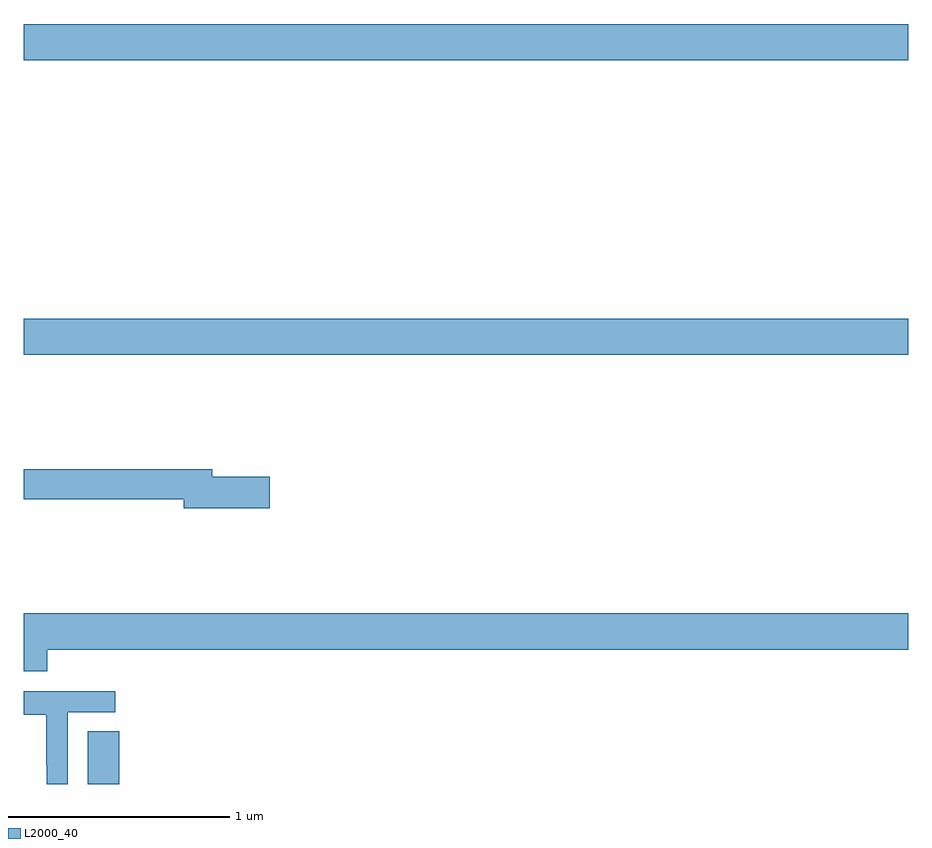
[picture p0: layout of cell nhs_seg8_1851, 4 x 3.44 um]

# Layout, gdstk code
import gdstk
lib = gdstk.Library(unit=1e-6, precision=1e-09)
def R(c, l, rs):  # rectangles x0, y0, x1, y1
    for r in rs: c.add(gdstk.rectangle(r[:2], r[2:], *l))
def P(c, l, *ps):  # polygons
    for p in ps: c.add(gdstk.Polygon(p, *l))
L2000_40 = (2000, 40)

nhs_seg8_1851 = lib.new_cell('nhs_seg8_1851')
R(nhs_seg8_1851, L2000_40, [(229.289,1107.9,229.433,1108.139), (229,1109.84,233,1110.004), (229,1111.172,233,1111.336)])
P(nhs_seg8_1851, L2000_40, [(230.113,1109.288),(229.852,1109.288),(229.852,1109.324),(229,1109.324),(229,1109.188),(229.724,1109.188),(229.724,1109.146),(230.113,1109.146)],
  [(229.106,1108.508),(233,1108.508),(233,1108.672),(229,1108.672),(229,1108.409),(229.106,1108.409)],
  [(229.2,1108.224),(229.414,1108.224),(229.414,1108.32),(229,1108.32),(229,1108.212),(229.102,1108.212),(229.102,1107.988),(229.104,1107.988),(229.104,1107.9),(229.2,1107.9)])

lib.write_gds('nhs_seg8_1851.gds')
